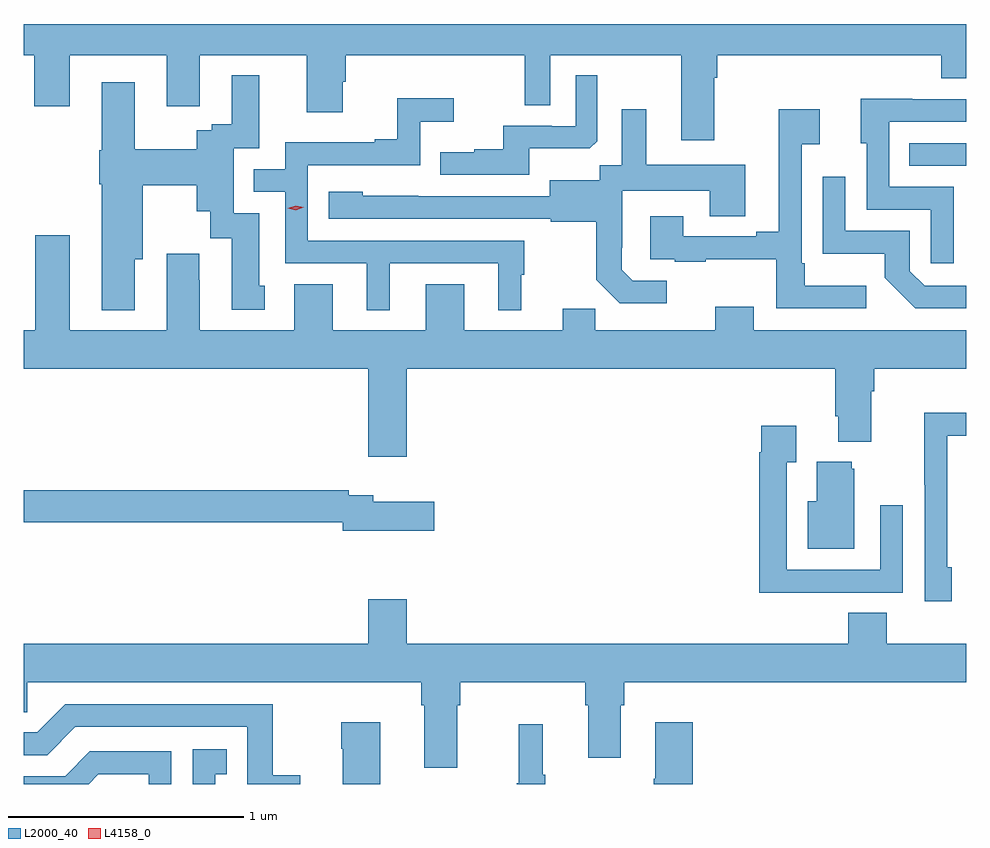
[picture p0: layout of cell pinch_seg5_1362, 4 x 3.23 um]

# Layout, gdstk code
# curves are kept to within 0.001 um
import gdstk
lib = gdstk.Library(unit=1e-6, precision=1e-09)
def R(c, l, rs):  # rectangles x0, y0, x1, y1
    for r in rs: c.add(gdstk.rectangle(r[:2], r[2:], *l))
def P(c, l, *ps):  # polygons
    for p in ps: c.add(gdstk.Polygon(p, *l))
L2000_40 = (2000, 40)
L4158_0 = (4158, 0)

pinch_seg5_1362 = lib.new_cell('pinch_seg5_1362')
R(pinch_seg5_1362, L2000_40, [(227.245,914.898,227.486,914.994)])
P(pinch_seg5_1362, L2000_40, [(223.486,915.368),(223.529,915.368),(223.529,915.15),(223.681,915.15),(223.681,915.368),(224.093,915.368),(224.093,915.15),(224.233,915.15),(224.233,915.368),(224.687,915.368),(224.687,915.126),(224.839,915.126),(224.839,915.255),(224.852,915.255),(224.852,915.368),(225.612,915.368),(225.612,915.154),(225.72,915.154),(225.72,915.368),(226.277,915.368),(226.277,915.006),(226.417,915.006),(226.417,915.272),(226.43,915.272),(226.43,915.368),(227.381,915.368),(227.381,915.269),(227.486,915.269),(227.486,915.5),(223.486,915.5)],
  [(223.957,914.501),(223.99,914.501),(223.99,914.816),(224.219,914.816),(224.219,914.705),(224.277,914.705),(224.277,914.591),(224.369,914.591),(224.369,914.286),(224.509,914.286),(224.509,914.388),(224.485,914.388),(224.485,914.697),(224.376,914.697),(224.376,914.973),(224.485,914.973),(224.485,915.283),(224.369,915.283),(224.369,915.074),(224.283,915.074),(224.283,915.049),(224.219,915.049),(224.219,914.968),(223.957,914.968),(223.957,915.253),(223.817,915.253),(223.817,914.964),(223.805,914.964),(223.805,914.82),(223.817,914.82),(223.817,914.285),(223.957,914.285)],
  [(225.631,914.972),(225.889,914.972),(225.921,915.003),(225.921,915.283),(225.828,915.283),(225.828,915.066),(225.728,915.066),(225.728,915.069),(225.521,915.069),(225.521,914.968),(225.397,914.968),(225.397,914.956),(225.253,914.956),(225.253,914.859),(225.631,914.859)],
  [(225.04,914.484),(225.5,914.484),(225.5,914.285),(225.598,914.285),(225.598,914.436),(225.61,914.436),(225.61,914.58),(224.691,914.58),(224.691,914.901),(225.168,914.901),(225.168,915.086),(225.31,915.086),(225.31,915.185),(225.07,915.185),(225.07,915.01),(224.975,915.01),(224.975,914.997),(224.595,914.997),(224.595,914.883),(224.462,914.883),(224.462,914.787),(224.595,914.787),(224.595,914.484),(224.942,914.484),(224.942,914.285),(225.04,914.285)],
  [(227.433,914.808),(227.16,914.808),(227.16,915.084),(227.486,915.084),(227.486,915.18),(227.257,915.18),(227.257,915.182),(227.039,915.182),(227.039,914.994),(227.064,914.994),(227.064,914.712),(227.337,914.712),(227.337,914.484),(227.433,914.484)],
  [(226.216,914.409),(226.071,914.409),(226.024,914.456),(226.024,914.551),(226.026,914.551),(226.026,914.792),(226.397,914.792),(226.397,914.683),(226.549,914.683),(226.549,914.902),(226.129,914.902),(226.129,915.139),(226.025,915.139),(226.025,914.9),(225.93,914.9),(225.93,914.836),(225.719,914.836),(225.719,914.769),(224.925,914.77),(224.925,914.788),(224.781,914.788),(224.781,914.673),(225.723,914.673),(225.723,914.661),(225.915,914.661),(225.915,914.415),(226.015,914.315),(226.216,914.315)],
  [(227.062,914.389),(226.801,914.389),(226.801,914.485),(226.788,914.485),(226.788,914.99),(226.864,914.99),(226.864,915.139),(226.691,915.139),(226.691,914.617),(226.595,914.617),(226.595,914.598),(226.285,914.598),(226.285,914.683),(226.145,914.683),(226.145,914.502),(226.249,914.502),(226.249,914.49),(226.381,914.49),(226.381,914.501),(226.68,914.501),(226.68,914.292),(227.062,914.292)],
  [(227.486,914.388),(227.31,914.388),(227.247,914.451),(227.247,914.622),(226.974,914.622),(226.974,914.851),(226.878,914.851),(226.878,914.525),(227.14,914.525),(227.14,914.423),(227.27,914.292),(227.486,914.292)],
  [(226.931,913.834),(226.943,913.834),(226.943,913.727),(227.083,913.727),(227.083,913.94),(227.096,913.94),(227.096,914.036),(227.486,914.036),(227.486,914.2),(226.585,914.2),(226.585,914.299),(226.421,914.299),(226.421,914.2),(225.911,914.2),(225.911,914.291),(225.773,914.291),(225.773,914.2),(225.355,914.2),(225.355,914.395),(225.191,914.395),(225.191,914.2),(224.797,914.2),(224.797,914.395),(224.633,914.395),(224.633,914.2),(224.233,914.2),(224.233,914.411),(224.231,914.411),(224.231,914.524),(224.093,914.524),(224.093,914.2),(223.681,914.2),(223.681,914.602),(223.534,914.602),(223.534,914.2),(223.486,914.2),(223.486,914.036),(224.948,914.036),(224.948,913.662),(225.112,913.662),(225.112,914.036),(226.931,914.036)],
  [(227.425,913.194),(227.406,913.194),(227.406,913.752),(227.486,913.752),(227.486,913.85),(227.308,913.85),(227.308,913.543),(227.31,913.543),(227.31,913.05),(227.425,913.05)],
  [(226.901,913.086),(227.217,913.086),(227.217,913.456),(227.121,913.456),(227.121,913.182),(226.725,913.182),(226.725,913.639),(226.765,913.639),(226.765,913.795),(226.617,913.795),(226.617,913.682),(226.609,913.682),(226.609,913.085),(226.901,913.085)],
  [(227.011,913.611),(227,913.611),(227,913.642),(226.853,913.642),(226.853,913.474),(226.814,913.474),(226.814,913.271),(227.011,913.271)],
  [(225.229,913.471),(224.968,913.471),(224.968,913.5),(224.864,913.5),(224.864,913.52),(223.486,913.52),(223.486,913.384),(224.84,913.384),(224.84,913.349),(225.229,913.349)],
  [(224.948,913.057),(224.948,912.868),(223.486,912.868),(223.486,912.577),(223.5,912.577),(223.5,912.704),(225.173,912.704),(225.173,912.608),(225.185,912.608),(225.185,912.342),(225.325,912.342),(225.325,912.608),(225.338,912.608),(225.338,912.704),(225.869,912.704),(225.869,912.608),(225.881,912.608),(225.881,912.384),(226.021,912.384),(226.021,912.608),(226.034,912.608),(226.034,912.704),(227.486,912.704),(227.486,912.868),(227.15,912.868),(227.15,913.001),(226.985,913.001),(226.985,912.868),(225.112,912.868),(225.112,913.057)],
  [(224.66,912.31),(224.542,912.31),(224.542,912.612),(223.662,912.612),(223.542,912.492),(223.486,912.492),(223.486,912.396),(223.584,912.396),(223.704,912.516),(224.433,912.516),(224.433,912.273),(224.66,912.273)],
  [(224.998,912.535),(224.833,912.535),(224.833,912.422),(224.84,912.422),(224.84,912.273),(224.998,912.273)],
  [(226.325,912.535),(226.166,912.535),(226.166,912.296),(226.159,912.296),(226.159,912.273),(226.325,912.273)],
  [(225.7,912.313),(225.689,912.313),(225.689,912.526),(225.586,912.526),(225.586,912.276),(225.579,912.276),(225.579,912.273),(225.7,912.273)],
  [(224.299,912.315),(224.348,912.315),(224.348,912.421),(224.202,912.421),(224.202,912.273),(224.299,912.273)],
  [(223.802,912.314),(224.016,912.314),(224.016,912.273),(224.112,912.273),(224.112,912.411),(223.766,912.411),(223.661,912.306),(223.486,912.306),(223.486,912.273),(223.761,912.273)])
P(pinch_seg5_1362, L4158_0, [(224.641,914.71),(224.606,914.717),(224.606,914.717),(224.606,914.717),(224.64,914.729),(224.675,914.722),(224.675,914.722),(224.675,914.722)])

lib.write_gds('pinch_seg5_1362.gds')
